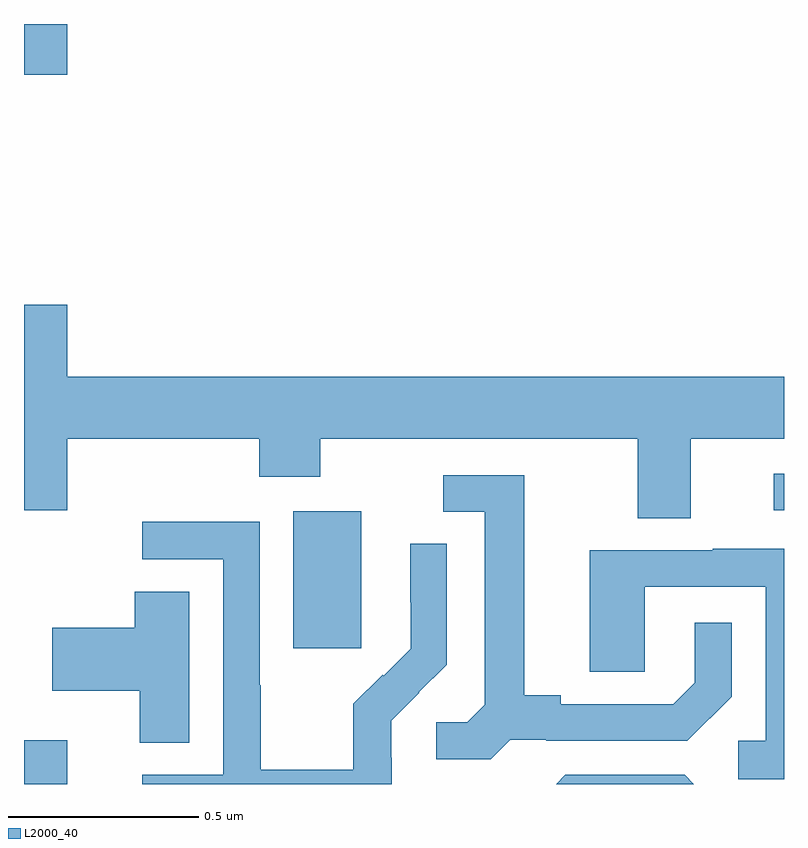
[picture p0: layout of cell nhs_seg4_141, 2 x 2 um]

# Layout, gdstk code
import gdstk
lib = gdstk.Library(unit=1e-6, precision=1e-09)
def R(c, l, rs):  # rectangles x0, y0, x1, y1
    for r in rs: c.add(gdstk.rectangle(r[:2], r[2:], *l))
def P(c, l, *ps):  # polygons
    for p in ps: c.add(gdstk.Polygon(p, *l))
L2000_40 = (2000, 40)

nhs_seg4_141 = lib.new_cell('nhs_seg4_141')
R(nhs_seg4_141, L2000_40, [(112,807.9,112.114,808.015), (112.709,808.257,112.888,808.618), (113.973,808.62,114,808.716), (112,809.766,112.114,809.9)])
P(nhs_seg4_141, L2000_40, [(113.755,808.808),(114,808.808),(114,808.972),(112.114,808.972),(112.114,809.161),(112,809.161),(112,808.62),(112.114,808.62),(112.114,808.808),(112.619,808.808),(112.619,808.709),(112.779,808.709),(112.779,808.808),(113.615,808.808),(113.615,808.6),(113.755,808.6)],
  [(113.28,808.017),(113.374,808.017),(113.374,808.014),(113.746,808.014),(113.862,808.13),(113.862,808.324),(113.765,808.324),(113.765,808.167),(113.708,808.11),(113.413,808.11),(113.413,808.133),(113.317,808.133),(113.317,808.713),(113.103,808.713),(113.103,808.617),(113.213,808.617),(113.213,808.109),(113.166,808.062),(113.085,808.062),(113.085,807.965),(113.228,807.965)],
  [(112.968,807.969),(112.966,807.969),(112.966,808.066),(113.04,808.14),(113.039,808.141),(113.112,808.214),(113.112,808.532),(113.016,808.532),(113.016,808.378),(113.018,808.378),(113.018,808.256),(112.947,808.185),(112.944,808.188),(112.867,808.111),(112.867,807.937),(112.623,807.937),(112.623,808.16),(112.62,808.16),(112.62,808.59),(112.311,808.59),(112.311,808.491),(112.524,808.491),(112.524,807.924),(112.311,807.924),(112.311,807.9),(112.968,807.9)],
  [(114,808.519),(113.813,808.519),(113.813,808.515),(113.489,808.515),(113.489,808.195),(113.634,808.195),(113.634,808.419),(113.952,808.419),(113.952,808.014),(113.88,808.014),(113.88,807.913),(114,807.913)],
  [(112.435,808.406),(112.292,808.406),(112.292,808.311),(112.074,808.311),(112.074,808.145),(112.304,808.145),(112.304,808.009),(112.435,808.009)],
  [(113.739,807.924),(113.424,807.924),(113.4,807.9),(113.763,807.9)])

lib.write_gds('nhs_seg4_141.gds')
